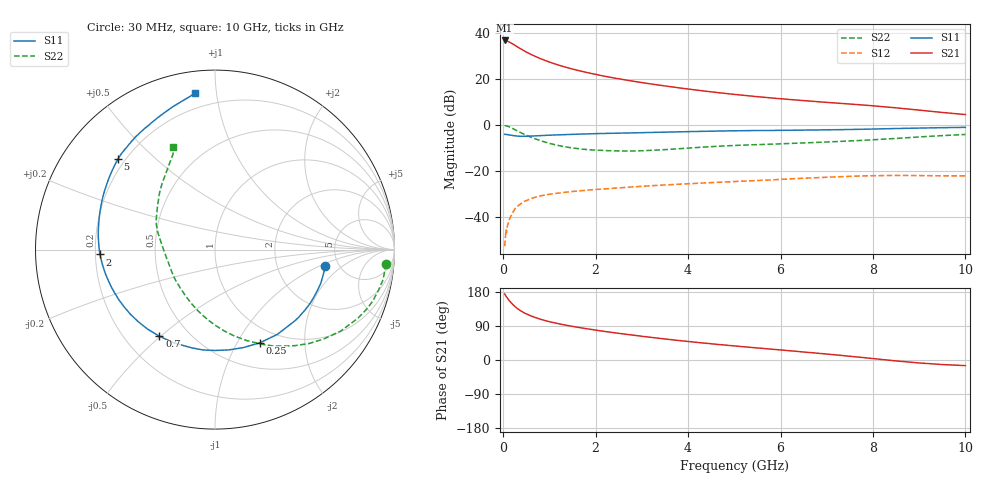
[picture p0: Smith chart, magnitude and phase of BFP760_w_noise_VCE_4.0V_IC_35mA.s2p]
! Infineon Technologies  Discrete & RF Semiconductors
! BFP760
! VCE =  4.0 V,  IC =  35 mA
! Common Emitter S-Parameters:  Nov 2012
# GHz  S  MA  R  50
!  f  S11  S21  S12  S22
! GHz  MAG  ANG  MAG  ANG  MAG  ANG  MAG  ANG
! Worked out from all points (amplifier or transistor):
!   99 points, 30 MHz to 10 GHz, reference 50 ohm
!   highest |S21| = 36.6 dB at 30 MHz (marker M1)
!   |S21| within 3 dB of that: start of sweep to 324.7 MHz
!   unconditionally stable (mu >= 1): 4.053 GHz to end of sweep
!   at 350 MHz: K = 0.32, MSG = 34.0 dB, |S12| = -34.8 dB
!   at 3.5 GHz: K = 0.95, MSG = 21.5 dB, |S12| = -26.1 dB
!   at 10 GHz: K = 1.06, MAG = 11.8 dB, |S12| = -22.2 dB
!   lowest NFmin = 0.83 dB at 900 MHz
!   S11 on the Smith chart (normalised r, x): 30 MHz: 3.89, -1.17; 250 MHz: 0.80, -1.25; 700 MHz: 0.34, -0.50; 2 GHz: 0.22, -0.02; 5 GHz: 0.17, +0.38; 10 GHz: 0.11, +0.87
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0.03  0.62 -8.6  67.91 174.2  0.0023 66.0  0.9551 -4.8
0.07  0.6157 -20.2  66.85 166.7  0.0045 75.0  0.9439 -12.2
0.13  0.6009 -36.6  62.84 157.0  0.0086 71.2  0.9008 -22.6
0.15  0.5962 -41.8  61.41 154.0  0.0097 68.4  0.8825 -25.8
0.2  0.5863 -53.7  57.41 147.3  0.012 65.3  0.8341 -33.0
0.25  0.5762 -64.3  53.59 141.4  0.0147 62.4  0.7852 -39.3
0.35  0.564 -82.4  46.35 132.0  0.0183 57.0  0.6972 -50.1
0.45  0.5631 -96.7  40.54 124.7  0.0215 52.4  0.6241 -59.2
0.6  0.568 -113.7  33.85 116.3  0.0249 47.5  0.5375 -70.7
0.7  0.5735 -122.7  30.39 111.8  0.0267 44.8  0.4918 -77.6
0.9  0.5869 -136.9  25.11 104.3  0.0297 40.9  0.4213 -89.9
1.1  0.5984 -147.8  21.29 98.3  0.0319 38.7  0.3719 -100.7
1.4  0.6141 -160.2  17.26 90.9  0.0346 36.2  0.3249 -114.7
1.7  0.628 -169.7  14.49 84.6  0.037 35.0  0.2956 -127.1
2  0.6414 -177.6  12.45 78.9  0.0393 34.3  0.2812 -138.5
2.6  0.6602 169.7  9.579 68.8  0.0431 33.3  0.2691 -157.7
3.4  0.6874 156.0  7.204 56.9  0.0485 32.1  0.2847 -178.8
5  0.7393 137.0  4.572 37.2  0.0583 29.2  0.3543 157.1
5.1  0.7415 136.2  4.466 36.1  0.0589 29.1  0.358 156.1
6.7  0.77 124.4  3.232 19.1  0.0703 24.8  0.4103 140.8
8.5  0.8281 106.9  2.332 -2.4  0.0793 14.1  0.5046 122.9
10  0.8782 97.3  1.665 -14.8  0.0774 9.2  0.6151 112.1
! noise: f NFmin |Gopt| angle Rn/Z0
0.9  0.83  0.2  -166  0.09
1.8  0.88  0.21  -158  0.07
2.4  0.92  0.22  -148  0.08
3.5  1.04  0.22  -138  0.13
5.5  1.28  0.29  -90  0.41
8  1.54  0.41  -68  0.48
